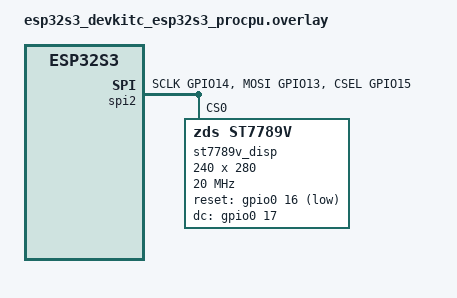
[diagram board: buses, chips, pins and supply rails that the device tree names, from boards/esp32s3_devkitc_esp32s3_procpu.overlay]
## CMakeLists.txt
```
cmake_minimum_required(VERSION 3.20.0)

find_package(Zephyr REQUIRED HINTS $ENV{ZEPHYR_BASE})
project(tft_st7789v3)

target_sources(app PRIVATE src/main.c)
```

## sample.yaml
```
sample:
  description: >
    Draw color bars and "Hello World!" on a 1.69" 240x280 ST7789V3 SPI
    TFT panel using raw SPI writes (no Zephyr display driver).
  name: tft_st7789v3
common:
  tags:
    - spi
    - display
tests:
  sample.display.st7789v3:
    platform_allow:
      - esp32s3_devkitc/esp32s3/procpu
    harness: console
    harness_config:
      type: one_line
      regex:
        - "=== TFT ST7789V3 \\(SPI, 240x280\\) ==="
```

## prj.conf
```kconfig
# TFT ST7789V3 (SPI, 240x280) - project configuration

CONFIG_SPI=y
CONFIG_GPIO=y

# st7789_fill_rect() keeps a one-row (240px * 2 bytes/px = 480 byte)
# stack buffer rather than a full-screen framebuffer; bump the main
# stack a bit to keep headroom alongside that plus the smaller
# per-character buffer in st7789_draw_char().
CONFIG_MAIN_STACK_SIZE=4096

# UART console backend for printk() output.
CONFIG_UART_CONSOLE=y
CONFIG_PRINTK=y

# NOTE: this lab talks to the ST7789V3 with raw spi_write_dt() calls
# (command/data selected via the DC pin), not Zephyr's Display/CFB
# subsystem or the in-tree "sitronix,st7789v" driver - see the
# devicetree overlay and main.c header comments.
```

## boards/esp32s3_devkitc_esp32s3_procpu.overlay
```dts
/*
 * ESP32-S3-DevKitC-1: SPI2 (GPSPI2) TFT panel wiring for the
 * ST7789V3-driven 1.69" 240x280 display.
 *
 * Pin reuse: this lab intentionally reuses the exact same SPI2 pin
 * assignment as the ST7735 lab in this series (SCLK=GPIO14,
 * MOSI=GPIO13, CS0=GPIO15, RST=GPIO16, DC=GPIO17) - both are raw-SPI
 * color TFT panels with the same RST/DC needs, so the breadboard
 * wiring from that lab can be reused as-is, no rewiring needed.
 * Hardware CS0 is used (SPIM2_CSEL_GPIO15 pinmux), matching this
 * series' SPI2 convention. MISO is intentionally not wired - this
 * panel is write-only from the MCU's side.
 *
 * No Zephyr in-tree display driver is used - see the zds,st7789v
 * custom binding (lab/dts/bindings/display/zds,st7789v.yaml) and
 * main.c, which talks to the panel directly over raw SPI.
 */

&pinctrl {
	spim2_default: spim2_default {
		group1 {
			pinmux = <SPIM2_SCLK_GPIO14>, <SPIM2_MOSI_GPIO13>, <SPIM2_CSEL_GPIO15>;
		};
	};
};

&spi2 {
	status = "okay";
	pinctrl-0 = <&spim2_default>;
	pinctrl-names = "default";

	st7789v_disp: st7789v@0 {
		compatible = "zds,st7789v";
		reg = <0>;
		spi-max-frequency = <20000000>;
		reset-gpios = <&gpio0 16 GPIO_ACTIVE_LOW>;
		dc-gpios = <&gpio0 17 GPIO_ACTIVE_HIGH>;
		width = <240>;
		height = <280>;
		x-offset = <0>;
		y-offset = <20>;
	};
};
```

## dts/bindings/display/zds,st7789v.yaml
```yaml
description: |
  ZDS custom binding for an ST7789V(3)-driven SPI TFT panel, talked to
  directly by application code (no Zephyr in-tree display driver is
  used). This node only exists so the panel's wiring (SPI bus/CS,
  reset pin, D/C pin) and panel geometry live in the devicetree where
  they belong, instead of being hardcoded in C.

compatible: "zds,st7789v"

include: [spi-device.yaml]

properties:
  reset-gpios:
    type: phandle-array
    required: true
    description: Panel RESET pin (active low - asserting it holds the
      controller in reset).

  dc-gpios:
    type: phandle-array
    required: true
    description: Data/Command select pin (active high = data byte(s)
      follow, inactive = command byte follows).

  width:
    type: int
    default: 240
    description: Visible panel width in pixels.

  height:
    type: int
    default: 280
    description: Visible panel height in pixels.

  x-offset:
    type: int
    default: 0
    description: Horizontal offset into the ST7789's native 240x320
      GRAM. Needed because many small ST7789 panels (this 1.69"
      240x280 module included) only use a centered sub-window of the
      controller's full addressable memory.

  y-offset:
    type: int
    default: 20
    description: Vertical offset into the ST7789's native 240x320
      GRAM. 20 is the commonly documented value for 1.69" 240x280
      ST7789V3 modules; adjust if your specific module's datasheet
      says otherwise.
```

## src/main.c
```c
/*
 * Lab 06: ST7789V3 1.69" 240x280 color TFT, raw SPI, no Zephyr
 * Display/CFB subsystem.
 *
 * Board: ESP32-S3-DevKitC-1 (esp32s3_devkitc/esp32s3/procpu)
 * Bus:   SPI2 (GPSPI2), hardware CS0. SCLK=GPIO14, MOSI=GPIO13,
 *        CS0=GPIO15, RST=GPIO16, DC=GPIO17 - the same SPI2 pin
 *        assignment as this series' ST7735 lab, reused as-is since
 *        both are write-only color SPI TFTs with the same RST/DC
 *        wiring needs.
 *
 * This lab talks to the ST7789V3 controller directly with raw SPI
 * writes (command/data selected via the DC pin), the same style used
 * throughout this series for SPI displays, rather than going through
 * Zephyr's built-in "sitronix,st7789v" display driver.
 *
 * PANEL RAM OFFSET: the ST7789 controller's native GRAM is 240x320.
 * This particular module's visible glass is only 240x280, centered
 * in a sub-window of that GRAM - so every addressing window sent to
 * the controller needs a fixed offset added (X_OFFSET/Y_OFFSET below,
 * also mirrored in the devicetree overlay). 20 is the commonly
 * documented Y offset for 1.69" 240x280 ST7789V3 modules; if the
 * image on your specific module is shifted or clipped, check your
 * module's own datasheet/example code for its offset and update the
 * overlay's x-offset/y-offset properties.
 *
 * COLOR ORDER / ORIENTATION: MADCTL below is set to a common default.
 * If colors come out with red/blue swapped, or the image is mirrored/
 * rotated relative to how your module is mounted, see the
 * troubleshooting doc for the MADCTL bits to flip.
 */

#include <zephyr/kernel.h>
#include <zephyr/device.h>
#include <zephyr/devicetree.h>
#include <zephyr/drivers/spi.h>
#include <zephyr/drivers/gpio.h>
#include <zephyr/sys/printk.h>
#include <stdbool.h>

#define DISP_NODE DT_NODELABEL(st7789v_disp)

#define PANEL_WIDTH   DT_PROP(DISP_NODE, width)
#define PANEL_HEIGHT  DT_PROP(DISP_NODE, height)
#define X_OFFSET      DT_PROP(DISP_NODE, x_offset)
#define Y_OFFSET      DT_PROP(DISP_NODE, y_offset)

/* ST7789 command set (only what this lab needs). */
#define ST7789_SWRESET 0x01
#define ST7789_SLPOUT  0x11
#define ST7789_COLMOD  0x3A
#define ST7789_MADCTL  0x36
#define ST7789_INVON   0x21
#define ST7789_NORON   0x13
#define ST7789_DISPON  0x29
#define ST7789_CASET   0x2A
#define ST7789_RASET   0x2B
#define ST7789_RAMWR   0x2C

/* RGB565 colors used by the demo pattern. */
#define COLOR_BLACK   0x0000
#define COLOR_WHITE   0xFFFF
#define COLOR_RED     0xF800
#define COLOR_GREEN   0x07E0
#define COLOR_BLUE    0x001F
#define COLOR_YELLOW  0xFFE0
#define COLOR_CYAN    0x07FF
#define COLOR_MAGENTA 0xF81F

static const struct spi_dt_spec spi_spec =
	SPI_DT_SPEC_GET(DISP_NODE, SPI_WORD_SET(8) | SPI_TRANSFER_MSB, 0);
static const struct gpio_dt_spec reset_spec = GPIO_DT_SPEC_GET(DISP_NODE, reset_gpios);
static const struct gpio_dt_spec dc_spec = GPIO_DT_SPEC_GET(DISP_NODE, dc_gpios);

/* Minimal 5x7 font - only the glyphs this lab prints ("Hello World!").
 * Same column-major, bottom-to-top bit convention used by the other
 * raw-framebuffer labs in this series, so the table is copied
 * verbatim for consistency.
 */
struct glyph {
	char ch;
	uint8_t cols[5];
};

static const struct glyph font5x7[] = {
	{' ', {0x00, 0x00, 0x00, 0x00, 0x00}},
	{'!', {0x00, 0x00, 0x5F, 0x00, 0x00}},
	{'H', {0x7F, 0x08, 0x08, 0x08, 0x7F}},
	{'W', {0x3F, 0x40, 0x38, 0x40, 0x3F}},
	{'d', {0x38, 0x44, 0x44, 0x48, 0x7F}},
	{'e', {0x38, 0x54, 0x54, 0x54, 0x18}},
	{'l', {0x00, 0x41, 0x7F, 0x40, 0x00}},
	{'o', {0x38, 0x44, 0x44, 0x44, 0x38}},
	{'r', {0x7C, 0x08, 0x04, 0x04, 0x08}},
	{'x', {0x22, 0x14, 0x08, 0x14, 0x22}},
};

static const uint8_t *glyph_lookup(char c)
{
	static const uint8_t blank[5] = {0x00, 0x00, 0x00, 0x00, 0x00};

	for (size_t i = 0; i < ARRAY_SIZE(font5x7); i++) {
		if (font5x7[i].ch == c) {
			return font5x7[i].cols;
		}
	}
	return blank;
}

static int st7789_write_cmd(uint8_t cmd)
{
	struct spi_buf buf = { .buf = &cmd, .len = 1 };
	struct spi_buf_set set = { .buffers = &buf, .count = 1 };

	gpio_pin_set_dt(&dc_spec, 0); /* command mode */
	return spi_write_dt(&spi_spec, &set);
}

static int st7789_write_data(const uint8_t *data, size_t len)
{
	struct spi_buf buf = { .buf = (void *)data, .len = len };
	struct spi_buf_set set = { .buffers = &buf, .count = 1 };

	gpio_pin_set_dt(&dc_spec, 1); /* data mode */
	return spi_write_dt(&spi_spec, &set);
}

static int st7789_reset(void)
{
	int ret = gpio_pin_configure_dt(&reset_spec, GPIO_OUTPUT_INACTIVE);

	if (ret) {
		return ret;
	}
	k_sleep(K_MSEC(10));
	gpio_pin_set_dt(&reset_spec, 1); /* assert reset */
	k_sleep(K_MSEC(10));
	gpio_pin_set_dt(&reset_spec, 0); /* release reset */
	k_sleep(K_MSEC(150));            /* datasheet: allow up to ~120ms to recover */

	return 0;
}

/* Standard ST7789 init sequence (16bpp RGB565, display inversion on -
 * required by most ST7789 glass to show correct, non-inverted colors).
 */
static int st7789_init(void)
{
	int ret;
	uint8_t colmod = 0x55;   /* 16 bits/pixel */
	uint8_t madctl = 0x00;   /* orientation/RGB order - see troubleshooting doc */

	ret = st7789_write_cmd(ST7789_SWRESET);
	if (ret) return ret;
	k_sleep(K_MSEC(150));

	ret = st7789_write_cmd(ST7789_SLPOUT);
	if (ret) return ret;
	k_sleep(K_MSEC(255));

	ret = st7789_write_cmd(ST7789_COLMOD);
	if (ret) return ret;
	ret = st7789_write_data(&colmod, 1);
	if (ret) return ret;
	k_sleep(K_MSEC(10));

	ret = st7789_write_cmd(ST7789_MADCTL);
	if (ret) return ret;
	ret = st7789_write_data(&madctl, 1);
	if (ret) return ret;

	ret = st7789_write_cmd(ST7789_INVON);
	if (ret) return ret;
	k_sleep(K_MSEC(10));

	ret = st7789_write_cmd(ST7789_NORON);
	if (ret) return ret;
	k_sleep(K_MSEC(10));

	ret = st7789_write_cmd(ST7789_DISPON);
	if (ret) return ret;
	k_sleep(K_MSEC(100));

	return 0;
}

static int st7789_set_addr_window(uint16_t x0, uint16_t y0, uint16_t x1, uint16_t y1)
{
	uint16_t xs = x0 + X_OFFSET, xe = x1 + X_OFFSET;
	uint16_t ys = y0 + Y_OFFSET, ye = y1 + Y_OFFSET;
	uint8_t caset[4] = { xs >> 8, xs & 0xFF, xe >> 8, xe & 0xFF };
	uint8_t raset[4] = { ys >> 8, ys & 0xFF, ye >> 8, ye & 0xFF };
	int ret;

	ret = st7789_write_cmd(ST7789_CASET);
	if (ret) return ret;
	ret = st7789_write_data(caset, sizeof(caset));
	if (ret) return ret;

	ret = st7789_write_cmd(ST7789_RASET);
	if (ret) return ret;
	ret = st7789_write_data(raset, sizeof(raset));
	if (ret) return ret;

	return st7789_write_cmd(ST7789_RAMWR);
}

/* Fills a rectangle with a solid RGB565 color, one row at a time from
 * a small stack buffer (no full-screen framebuffer is kept in RAM -
 * consistent with this series' raw-SPI, direct-write approach).
 */
static int st7789_fill_rect(uint16_t x, uint16_t y, uint16_t w, uint16_t h, uint16_t color)
{
	uint8_t row[PANEL_WIDTH * 2];
	int ret;

	ret = st7789_set_addr_window(x, y, x + w - 1, y + h - 1);
	if (ret) return ret;

	for (uint16_t i = 0; i < w; i++) {
		row[i * 2] = color >> 8;
		row[i * 2 + 1] = color & 0xFF;
	}

	for (uint16_t line = 0; line < h; line++) {
		ret = st7789_write_data(row, (size_t)w * 2);
		if (ret) return ret;
	}

	return 0;
}

/* Draws one character scaled up by `scale`, one source pixel row at a
 * time (again no per-character framebuffer needed).
 */
static int st7789_draw_char(uint16_t x, uint16_t y, char c, uint16_t fg, uint16_t bg, uint8_t scale)
{
	const uint8_t *glyph = glyph_lookup(c);
	uint8_t row[5 * 8 * 2]; /* generous fixed max: 5 cols * up to 8x scale * 2 bytes */
	int ret;

	ret = st7789_set_addr_window(x, y, x + 5 * scale - 1, y + 7 * scale - 1);
	if (ret) return ret;

	for (uint8_t srow = 0; srow < 7; srow++) {
		for (uint8_t scol = 0; scol < 5; scol++) {
			bool on = (glyph[scol] >> srow) & 0x1;
			uint16_t color = on ? fg : bg;

			for (uint8_t sx = 0; sx < scale; sx++) {
				size_t idx = (scol * scale + sx) * 2;

				row[idx] = color >> 8;
				row[idx + 1] = color & 0xFF;
			}
		}
		for (uint8_t sy = 0; sy < scale; sy++) {
			ret = st7789_write_data(row, (size_t)5 * scale * 2);
			if (ret) return ret;
		}
	}

	return 0;
}

static int st7789_draw_string(uint16_t x, uint16_t y, const char *str, uint16_t fg, uint16_t bg, uint8_t scale)
{
	int ret;

	while (*str) {
		ret = st7789_draw_char(x, y, *str++, fg, bg, scale);
		if (ret) return ret;
		x += 6 * scale; /* 5 glyph columns + 1 blank column */
	}
	return 0;
}

int main(void)
{
	printk("\n=== TFT ST7789V3 (SPI, 240x%d) ===\n", PANEL_HEIGHT);

	if (!spi_is_ready_dt(&spi_spec)) {
		printk("SPI2 device not ready - check devicetree status/overlay\n");
		return 0;
	}
	if (!gpio_is_ready_dt(&reset_spec) || !gpio_is_ready_dt(&dc_spec)) {
		printk("RST/DC GPIO controller not ready\n");
		return 0;
	}

	if (gpio_pin_configure_dt(&dc_spec, GPIO_OUTPUT_INACTIVE)) {
		printk("DC GPIO configure failed\n");
		return 0;
	}

	if (st7789_reset()) {
		printk("Panel reset failed - check RST wiring (gpio0 16)\n");
		return 0;
	}

	if (st7789_init()) {
		printk("ST7789 init failed (SPI write error) - check wiring\n");
		return 0;
	}

	/* Black background, then a stack of color bars, then a text
	 * banner drawn on top - same "text + color bars" demo pattern
	 * used by this series' other raw-SPI color TFT lab. */
	if (st7789_fill_rect(0, 0, PANEL_WIDTH, PANEL_HEIGHT, COLOR_BLACK)) {
		printk("Fill (background) failed\n");
		return 0;
	}

	static const uint16_t bar_colors[] = {
		COLOR_RED, COLOR_GREEN, COLOR_BLUE, COLOR_YELLOW, COLOR_CYAN, COLOR_MAGENTA, COLOR_WHITE,
	};
	uint16_t bars_top = 40;
	uint16_t bar_height = (PANEL_HEIGHT - bars_top) / ARRAY_SIZE(bar_colors);

	for (size_t i = 0; i < ARRAY_SIZE(bar_colors); i++) {
		if (st7789_fill_rect(0, bars_top + i * bar_height, PANEL_WIDTH, bar_height, bar_colors[i])) {
			printk("Fill (color bar %zu) failed\n", i);
			return 0;
		}
	}

	if (st7789_draw_string(10, 10, "Hello World!", COLOR_WHITE, COLOR_BLACK, 2)) {
		printk("Text draw failed\n");
		return 0;
	}

	printk("ST7789V3 initialized, color bars + \"Hello World!\" drawn\n");

	while (1) {
		k_sleep(K_SECONDS(5));
	}

	return 0;
}
```
